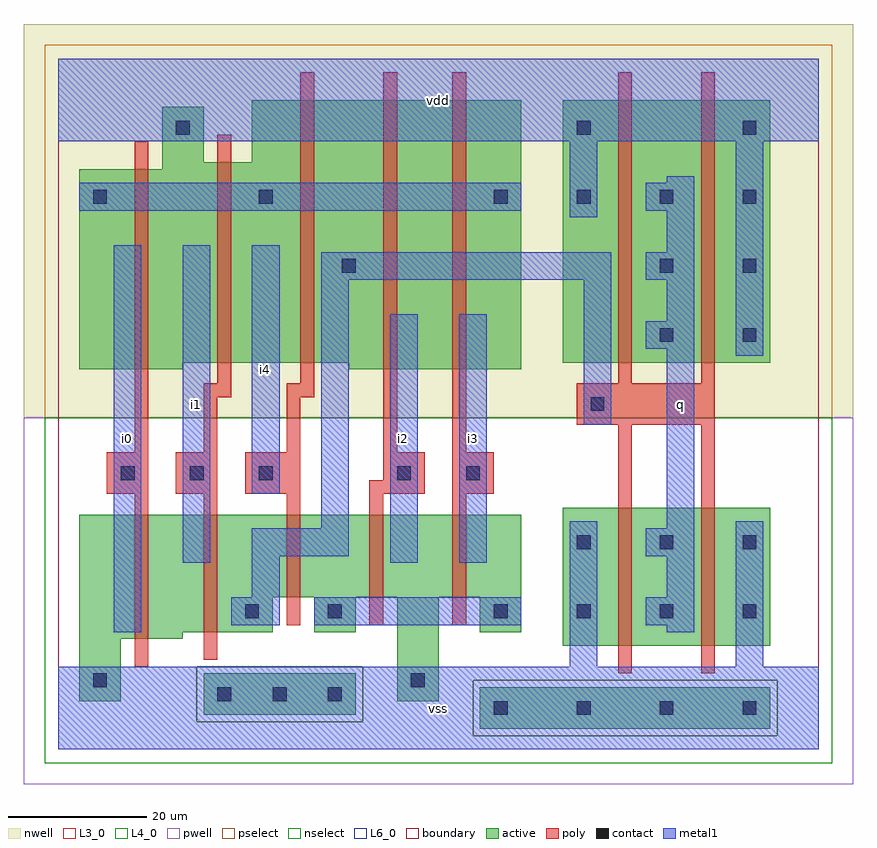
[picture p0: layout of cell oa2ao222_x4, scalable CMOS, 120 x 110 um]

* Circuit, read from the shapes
.subckt oa2ao222_x4 i0 i1 i2 i3 i4 q vdd vss
M1 n1 i0 vss vss nfet w=18u l=2u
M2 n2 i1 n1 vss nfet w=17u l=2u
M3 n3 i4 n2 vss nfet w=12u l=2u
M4 vss i2 n3 vss nfet w=12u l=2u
M5 n3 i3 vss vss nfet w=12u l=2u
M6 q n2 vss vss nfet w=20u l=2u m=2
M7 vdd i0 n4 n5 pfet w=29u l=2u
M8 n4 i1 vdd n5 pfet w=29u l=2u
M9 n2 i4 n4 n5 pfet w=38u l=2u
M10 n6 i2 n2 n5 pfet w=39u l=2u
M11 n4 i3 n6 n5 pfet w=39u l=2u
M12 q n2 vdd n5 pfet w=38u l=2u m=2
.ends

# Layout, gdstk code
import gdstk
lib = gdstk.Library(unit=1e-6, precision=1e-09)
def R(c, l, rs):  # rectangles x0, y0, x1, y1
    for r in rs: c.add(gdstk.rectangle(r[:2], r[2:], *l))
def A(c, l, x, y, w, h, nx, ny, dx, dy):  # array of equal rectangles
    R(c, l, [(x+i*dx, y+j*dy, x+i*dx+w, y+j*dy+h) for i in range(nx) for j in range(ny)])
L3_0 = (3, 0)
L4_0 = (4, 0)
L6_0 = (6, 0)
contact = (25, 0)
pwell = (41, 0)
nwell = (42, 0)
active = (43, 0)
pselect = (44, 0)
nselect = (45, 0)
poly = (46, 0)
metal1 = (49, 0)
boundary = (63, 0)

oa2ao222_x4 = lib.new_cell('oa2ao222_x4')
R(oa2ao222_x4, L3_0, [(3,7,9,16), (49,7,55,22), (73,15,103,35), (3,16,18,17), (3,17,31,22), (37,17,43,22), (61,17,67,22), (3,22,67,34)])
R(oa2ao222_x4, L4_0, [(3,55,18,56), (42,55,67,56), (3,56,67,84), (73,56,103,94), (15,84,67,85), (15,85,21,93), (28,85,67,94)])
R(oa2ao222_x4, L6_0, [(61,3,103,9), (21,5,43,11)])
A(oa2ao222_x4, contact, 63, 5, 2, 2, 4, 2, 12, 14)
A(oa2ao222_x4, contact, 23, 7, 2, 2, 3, 1, 8, 0)
A(oa2ao222_x4, contact, 75, 29, 2, 2, 3, 1, 12, 0)
A(oa2ao222_x4, contact, 9, 39, 2, 2, 3, 1, 10, 0)
A(oa2ao222_x4, contact, 63, 79, 2, 2, 4, 1, 12, 0)
R(oa2ao222_x4, contact, [(5,9,7,11), (51,9,53,11), (27,19,29,21), (39,19,41,21), (49,39,51,41), (59,39,61,41), (77,49,79,51), (87,59,89,61), (99,59,101,61), (41,69,43,71), (87,69,89,71), (99,69,101,71), (5,79,7,81), (29,79,31,81), (17,89,19,91), (75,89,77,91), (99,89,101,91)])
R(oa2ao222_x4, pwell, [(-5,-5,115,48)])
R(oa2ao222_x4, nwell, [(-5,48,115,105)])
R(oa2ao222_x4, active, [(61,3,103,9), (21,5,43,11), (3,7,9,16), (49,7,55,22), (73,15,103,35), (3,16,18,17), (3,17,31,22), (37,17,43,22), (61,17,67,22), (3,22,67,34), (3,55,18,56), (42,55,67,56), (3,56,67,84), (73,56,103,94), (15,84,67,85), (15,85,21,93), (28,85,67,94)])
R(oa2ao222_x4, pselect, [(60,2,104,10), (20,4,44,12), (-2,48,112,102)])
R(oa2ao222_x4, nselect, [(-2,-2,112,2), (-2,2,60,4), (104,2,112,10), (-2,4,20,12), (44,4,60,10), (44,10,112,12), (-2,12,112,48)])
A(oa2ao222_x4, poly, 33, 18, 2, 19, 3, 1, 12, 0)
R(oa2ao222_x4, poly, [(81,11,83,47), (93,11,95,47), (11,12,13,37), (21,13,23,37), (7,37,13,43), (17,37,23,43), (27,37,35,43), (45,37,53,39), (57,37,63,43), (47,39,53,43), (11,43,13,88), (21,43,23,51), (33,43,35,51), (47,43,49,98), (57,43,59,98), (75,47,95,53), (21,51,25,53), (33,51,37,53), (23,53,25,89), (35,53,37,98), (81,53,83,98), (93,53,95,98)])
A(oa2ao222_x4, metal1, 85, 58, 7, 4, 1, 3, 0, 10)
R(oa2ao222_x4, metal1, [(0,0,110,12), (74,12,78,33), (98,12,102,33), (8,17,12,73), (88,17,92,18), (25,18,32,22), (37,18,67,22), (85,18,92,22), (28,22,32,28), (88,22,92,28), (18,27,22,73), (48,27,52,63), (58,27,62,63), (28,28,42,32), (85,28,92,32), (38,32,42,68), (88,32,92,58), (28,37,32,73), (76,47,80,68), (98,57,102,88), (88,62,92,68), (38,68,80,72), (88,72,92,78), (74,77,78,88), (3,78,67,82), (88,82,92,83), (0,88,110,100)])
R(oa2ao222_x4, boundary, [(0,0,110,100)])
oa2ao222_x4.add(gdstk.Label('i0', (10,45), layer=49, texttype=0))
oa2ao222_x4.add(gdstk.Label('i1', (20,50), layer=49, texttype=0))
oa2ao222_x4.add(gdstk.Label('i2', (50,45), layer=49, texttype=0))
oa2ao222_x4.add(gdstk.Label('i4', (30,55), layer=49, texttype=0))
oa2ao222_x4.add(gdstk.Label('vss', (55,6), layer=49, texttype=0))
oa2ao222_x4.add(gdstk.Label('i3', (60,45), layer=49, texttype=0))
oa2ao222_x4.add(gdstk.Label('vdd', (55,94), layer=49, texttype=0))
oa2ao222_x4.add(gdstk.Label('q', (90,50), layer=49, texttype=0))

lib.write_gds('oa2ao222_x4.gds')
